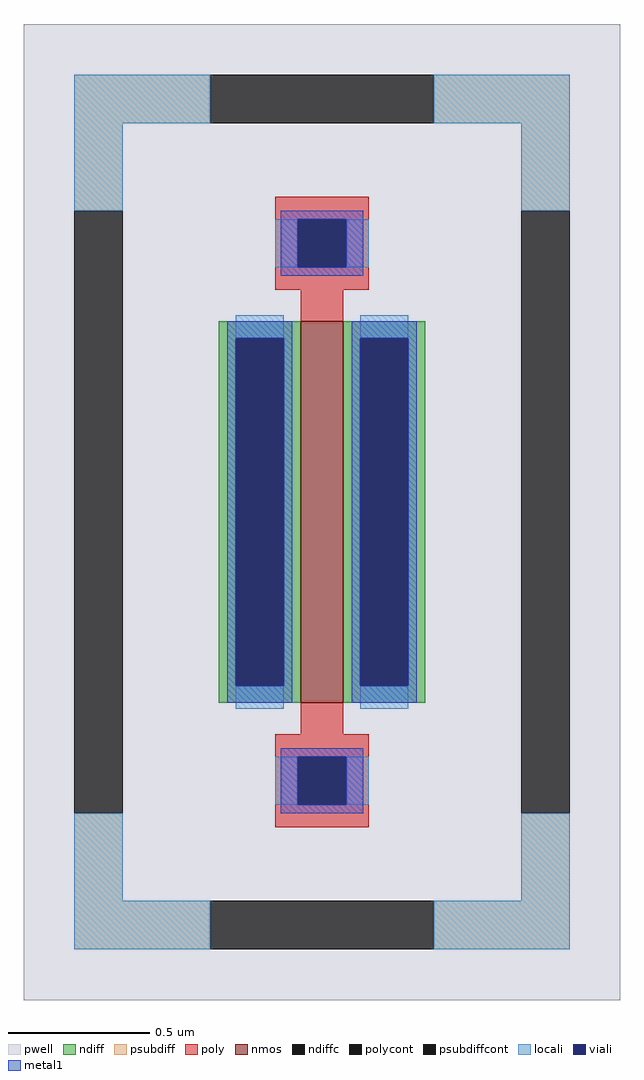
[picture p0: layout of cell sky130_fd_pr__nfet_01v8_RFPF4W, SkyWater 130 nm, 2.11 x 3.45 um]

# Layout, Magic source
magic
tech sky130A
magscale 1 2
<< pwell >>
rect -211 -345 211 345
<< nmos >>
rect -15 -135 15 135
<< ndiff >>
rect -73 123 -15 135
rect -73 -123 -61 123
rect -27 -123 -15 123
rect -73 -135 -15 -123
rect 15 123 73 135
rect 15 -123 27 123
rect 61 -123 73 123
rect 15 -135 73 -123
<< ndiffc >>
rect -61 -123 -27 123
rect 27 -123 61 123
<< psubdiff >>
rect -175 275 -79 309
rect 79 275 175 309
rect -175 213 -141 275
rect 141 213 175 275
rect -175 -275 -141 -213
rect 141 -275 175 -213
rect -175 -309 -79 -275
rect 79 -309 175 -275
<< psubdiffcont >>
rect -79 275 79 309
rect -175 -213 -141 213
rect 141 -213 175 213
rect -79 -309 79 -275
<< poly >>
rect -33 207 33 223
rect -33 173 -17 207
rect 17 173 33 207
rect -33 157 33 173
rect -15 135 15 157
rect -15 -157 15 -135
rect -33 -173 33 -157
rect -33 -207 -17 -173
rect 17 -207 33 -173
rect -33 -223 33 -207
<< polycont >>
rect -17 173 17 207
rect -17 -207 17 -173
<< locali >>
rect -175 275 -79 309
rect 79 275 175 309
rect -175 213 -141 275
rect 141 213 175 275
rect -33 173 -17 207
rect 17 173 33 207
rect -61 123 -27 139
rect -61 -139 -27 -123
rect 27 123 61 139
rect 27 -139 61 -123
rect -33 -207 -17 -173
rect 17 -207 33 -173
rect -175 -275 -141 -213
rect 141 -275 175 -213
rect -175 -309 -79 -275
rect 79 -309 175 -275
<< viali >>
rect -17 173 17 207
rect -61 -123 -27 123
rect 27 -123 61 123
rect -17 -207 17 -173
<< metal1 >>
rect -29 207 29 213
rect -29 173 -17 207
rect 17 173 29 207
rect -29 167 29 173
rect -67 123 -21 135
rect -67 -123 -61 123
rect -27 -123 -21 123
rect -67 -135 -21 -123
rect 21 123 67 135
rect 21 -123 27 123
rect 61 -123 67 123
rect 21 -135 67 -123
rect -29 -173 29 -167
rect -29 -207 -17 -173
rect 17 -207 29 -173
rect -29 -213 29 -207
<< properties >>
string FIXED_BBOX -158 -292 158 292
string gencell sky130_fd_pr__nfet_01v8
string library sky130
string parameters w 1.347 l 0.150 m 1 nf 1 diffcov 100 polycov 100 guard 1 glc 1 grc 1 gtc 1 gbc 1 tbcov 100 rlcov 100 topc 1 botc 1 poverlap 0 doverlap 1 lmin 0.15 wmin 0.42 compatible {sky130_fd_pr__nfet_01v8 sky130_fd_pr__nfet_01v8_lvt  sky130_fd_bs_flash__special_sonosfet_star  sky130_fd_pr__nfet_g5v0d10v5 sky130_fd_pr__nfet_05v0_nvt  sky130_fd_pr__nfet_03v3_nvt} full_metal 1 viasrc 100 viadrn 100 viagate 100 viagb 0 viagr 0 viagl 0 viagt 0
<< end >>
